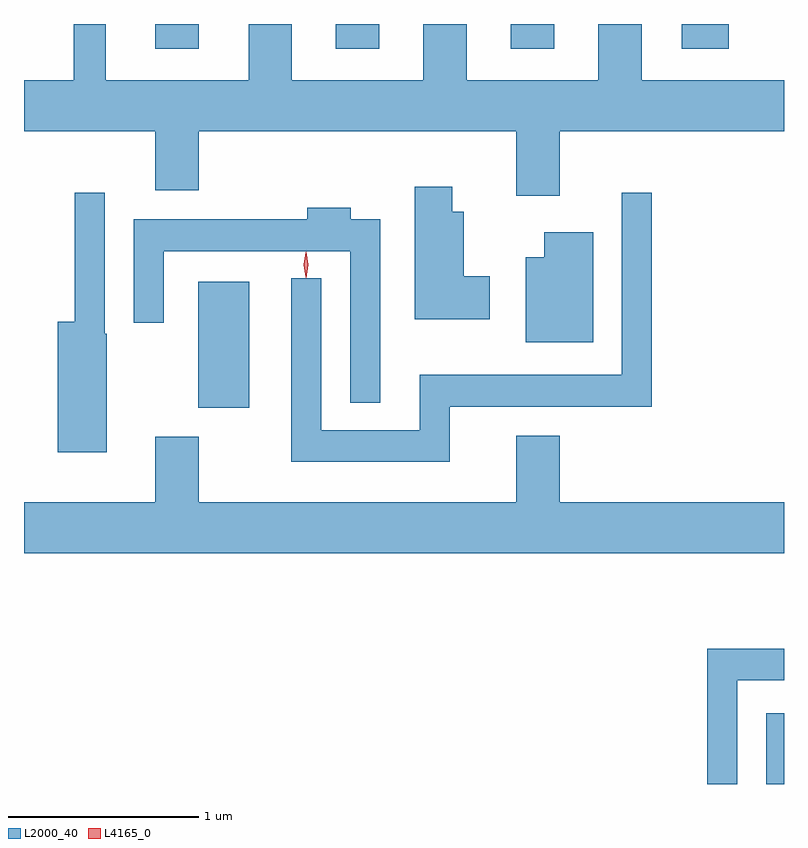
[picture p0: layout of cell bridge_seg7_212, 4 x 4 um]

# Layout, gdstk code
import gdstk
lib = gdstk.Library(unit=1e-6, precision=1e-09)
def R(c, l, rs):  # rectangles x0, y0, x1, y1
    for r in rs: c.add(gdstk.rectangle(r[:2], r[2:], *l))
def P(c, l, *ps):  # polygons
    for p in ps: c.add(gdstk.Polygon(p, *l))
L2000_40 = (2000, 40)
L4165_0 = (4165, 0)

bridge_seg7_212 = lib.new_cell('bridge_seg7_212')
R(bridge_seg7_212, L2000_40, [(1504.006,1704.221,1504.099,1704.594), (1501.016,1706.201,1501.284,1706.864), (1500.791,1708.091,1501.019,1708.221), (1501.741,1708.091,1501.969,1708.221), (1502.661,1708.091,1502.889,1708.221), (1503.561,1708.091,1503.809,1708.221)])
P(bridge_seg7_212, L2000_40, [(1502.919,1707.656),(1504.099,1707.656),(1504.099,1707.924),(1503.349,1707.924),(1503.349,1708.221),(1503.121,1708.221),(1503.121,1707.924),(1502.429,1707.924),(1502.429,1708.221),(1502.201,1708.221),(1502.201,1707.924),(1501.509,1707.924),(1501.509,1708.221),(1501.281,1708.221),(1501.281,1707.924),(1500.529,1707.924),(1500.529,1708.221),(1500.361,1708.221),(1500.361,1707.924),(1500.099,1707.924),(1500.099,1707.656),(1500.791,1707.656),(1500.791,1707.346),(1501.019,1707.346),(1501.019,1707.656),(1502.691,1707.656),(1502.691,1707.316),(1502.919,1707.316)],
  [(1502.549,1706.894),(1502.414,1706.894),(1502.414,1707.234),(1502.354,1707.234),(1502.354,1707.364),(1502.156,1707.364),(1502.156,1706.666),(1502.549,1706.666)],
  [(1502.339,1706.206),(1503.404,1706.206),(1503.404,1707.333),(1503.246,1707.333),(1503.246,1706.374),(1502.181,1706.374),(1502.181,1706.084),(1501.664,1706.084),(1501.664,1706.883),(1501.506,1706.883),(1501.506,1705.916),(1502.339,1705.916)],
  [(1500.534,1706.59),(1500.524,1706.59),(1500.524,1707.333),(1500.366,1707.333),(1500.366,1706.654),(1500.276,1706.654),(1500.276,1705.966),(1500.534,1705.966)],
  [(1501.974,1707.194),(1501.819,1707.194),(1501.819,1707.254),(1501.591,1707.254),(1501.591,1707.194),(1500.676,1707.194),(1500.676,1706.648),(1500.834,1706.648),(1500.834,1707.026),(1501.816,1707.026),(1501.816,1706.228),(1501.974,1706.228)],
  [(1503.094,1707.124),(1502.836,1707.124),(1502.836,1706.994),(1502.741,1706.994),(1502.741,1706.546),(1503.094,1706.546)],
  [(1504.099,1705.704),(1502.919,1705.704),(1502.919,1706.054),(1502.691,1706.054),(1502.691,1705.704),(1501.019,1705.704),(1501.019,1706.049),(1500.791,1706.049),(1500.791,1705.704),(1500.099,1705.704),(1500.099,1705.436),(1504.099,1705.436)],
  [(1503.854,1704.766),(1504.099,1704.766),(1504.099,1704.934),(1503.696,1704.934),(1503.696,1704.221),(1503.854,1704.221)])
P(bridge_seg7_212, L4165_0, [(1501.584,1706.884),(1501.584,1706.884),(1501.574,1706.953),(1501.584,1707.022),(1501.584,1707.023),(1501.585,1707.022),(1501.594,1706.953),(1501.585,1706.884)],
  [(1501.581,1706.887),(1501.572,1706.954),(1501.581,1707.02),(1501.582,1707.02),(1501.582,1707.02),(1501.592,1706.954),(1501.582,1706.887),(1501.582,1706.887)])

lib.write_gds('bridge_seg7_212.gds')
